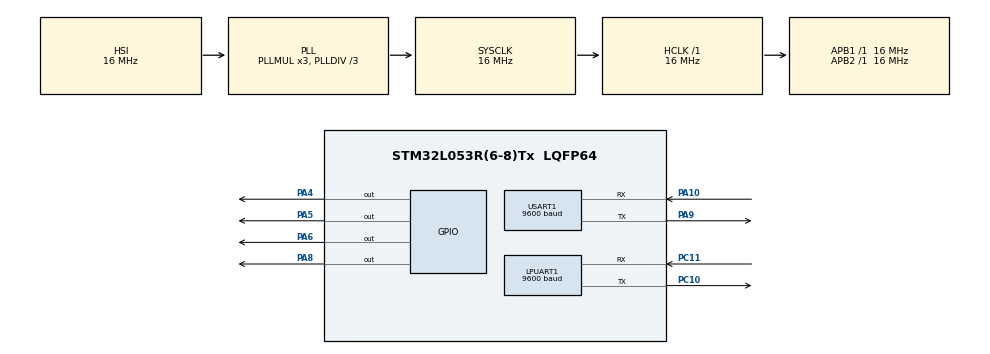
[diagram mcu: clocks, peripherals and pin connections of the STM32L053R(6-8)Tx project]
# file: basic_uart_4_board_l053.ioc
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Dma.LPUART1_RX.2.Direction=DMA_PERIPH_TO_MEMORY
Dma.LPUART1_RX.2.Instance=DMA1_Channel6
Dma.LPUART1_RX.2.MemDataAlignment=DMA_MDATAALIGN_BYTE
Dma.LPUART1_RX.2.MemInc=DMA_MINC_ENABLE
Dma.LPUART1_RX.2.Mode=DMA_NORMAL
Dma.LPUART1_RX.2.PeriphDataAlignment=DMA_PDATAALIGN_BYTE
Dma.LPUART1_RX.2.PeriphInc=DMA_PINC_DISABLE
Dma.LPUART1_RX.2.Priority=DMA_PRIORITY_LOW
Dma.LPUART1_TX.3.Direction=DMA_MEMORY_TO_PERIPH
Dma.LPUART1_TX.3.Instance=DMA1_Channel7
Dma.LPUART1_TX.3.MemDataAlignment=DMA_MDATAALIGN_BYTE
Dma.LPUART1_TX.3.MemInc=DMA_MINC_ENABLE
Dma.LPUART1_TX.3.Mode=DMA_NORMAL
Dma.LPUART1_TX.3.PeriphDataAlignment=DMA_PDATAALIGN_BYTE
Dma.LPUART1_TX.3.PeriphInc=DMA_PINC_DISABLE
Dma.LPUART1_TX.3.Priority=DMA_PRIORITY_LOW
Dma.Request0=USART1_RX
Dma.Request1=USART1_TX
Dma.Request2=LPUART1_RX
Dma.Request3=LPUART1_TX
Dma.USART1_RX.0.Direction=DMA_PERIPH_TO_MEMORY
Dma.USART1_RX.0.Instance=DMA1_Channel3
Dma.USART1_RX.0.MemDataAlignment=DMA_MDATAALIGN_BYTE
Dma.USART1_RX.0.MemInc=DMA_MINC_ENABLE
Dma.USART1_RX.0.Mode=DMA_NORMAL
Dma.USART1_RX.0.PeriphDataAlignment=DMA_PDATAALIGN_BYTE
Dma.USART1_RX.0.PeriphInc=DMA_PINC_DISABLE
Dma.USART1_RX.0.Priority=DMA_PRIORITY_LOW
Dma.USART1_TX.1.Direction=DMA_MEMORY_TO_PERIPH
Dma.USART1_TX.1.Instance=DMA1_Channel2
Dma.USART1_TX.1.MemDataAlignment=DMA_MDATAALIGN_BYTE
Dma.USART1_TX.1.MemInc=DMA_MINC_ENABLE
Dma.USART1_TX.1.Mode=DMA_NORMAL
Dma.USART1_TX.1.PeriphDataAlignment=DMA_PDATAALIGN_BYTE
Dma.USART1_TX.1.PeriphInc=DMA_PINC_DISABLE
Dma.USART1_TX.1.Priority=DMA_PRIORITY_LOW
LPUART1.BaudRate=9600
LPUART1.WordLength=UART_WORDLENGTH_8B
Mcu.Family=STM32L0
Mcu.Name=STM32L053R(6-8)Tx
Mcu.Package=LQFP64
NVIC.DMA1_Channel2_3_IRQn=true\:0\:0\:false\:false\:true\:false\:true\:true
NVIC.DMA1_Channel4_5_6_7_IRQn=true\:0\:0\:false\:false\:true\:false\:true\:true
NVIC.RCC_CRS_IRQn=true\:0\:0\:false\:false\:true\:true\:false\:true
NVIC.RNG_LPUART1_IRQn=true\:0\:0\:false\:false\:true\:true\:true\:true
NVIC.USART1_IRQn=true\:0\:0\:false\:false\:true\:true\:true\:true
PA10.Mode=Asynchronous
PA10.Signal=USART1_RX
PA13.Mode=Serial_Wire
PA13.Signal=SYS_SWDIO
PA14.Mode=Serial_Wire
PA14.Signal=SYS_SWCLK
PA4.Signal=GPIO_Output
PA5.Signal=GPIO_Output
PA6.Signal=GPIO_Output
PA8.PinState=GPIO_PIN_SET
PA8.Signal=GPIO_Output
PA9.Mode=Asynchronous
PA9.Signal=USART1_TX
PC10.Mode=Asynchronous
PC10.Signal=LPUART1_TX
PC11.Mode=Asynchronous
PC11.Signal=LPUART1_RX
PC14-OSC32_IN.Mode=LSE-External-Oscillator
PC14-OSC32_IN.Signal=RCC_OSC32_IN
PC15-OSC32_OUT.Mode=LSE-External-Oscillator
PC15-OSC32_OUT.Signal=RCC_OSC32_OUT
PH0-OSC_IN.Mode=HSE-External-Oscillator
PH0-OSC_IN.Signal=RCC_OSC_IN
PH1-OSC_OUT.Mode=HSE-External-Oscillator
PH1-OSC_OUT.Signal=RCC_OSC_OUT
ProjectManager.HeapSize=0x200
ProjectManager.StackSize=0x400
ProjectManager.TargetToolchain=STM32CubeIDE
RCC.AHBFreq_Value=16000000
RCC.APB1Freq_Value=16000000
RCC.APB1TimFreq_Value=16000000
RCC.APB2Freq_Value=16000000
RCC.APB2TimFreq_Value=16000000
RCC.HCLKFreq_Value=16000000
RCC.HSE_VALUE=8000000
RCC.HSI16_VALUE=16000000
RCC.HSI48_VALUE=48000000
RCC.HSI_VALUE=16000000
RCC.MSI_VALUE=2097000
RCC.PLLDIV=RCC_PLLDIV_3
RCC.SYSCLKFreq_VALUE=16000000
RCC.SYSCLKSource=RCC_SYSCLKSOURCE_PLLCLK
RCC.VCOOutputFreq_Value=48000000
USART1.BaudRate=9600
USART1.VirtualMode-Asynchronous=VM_ASYNC
board=custom

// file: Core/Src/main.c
/* USER CODE BEGIN Header */
/**
  ******************************************************************************
  * @file           : main.c
  * @brief          : Main program body
  ******************************************************************************
  * @attention
  *
  * Copyright (c) 2023 STMicroelectronics.
  * All rights reserved.
  *
  * This software is licensed under terms that can be found in the LICENSE file
  * in the root directory of this software component.
  * If no LICENSE file comes with this software, it is provided AS-IS.
  *
  ******************************************************************************
  */
/* USER CODE END Header */
#include "main.h"

/* USER CODE BEGIN Includes */
#include "stdbool.h"
#include <stdio.h>
#include <stdlib.h>
#include <stdbool.h>
/* USER CODE END Includes */

UART_HandleTypeDef hlpuart1;
UART_HandleTypeDef huart1;

DMA_HandleTypeDef hdma_lpuart1_rx;
DMA_HandleTypeDef hdma_lpuart1_tx;
DMA_HandleTypeDef hdma_usart1_rx;
DMA_HandleTypeDef hdma_usart1_tx;

/* USER CODE BEGIN PV */
#define UART_TOTAL_BYTES 64
#define UART_CHUNK_SIZE  1

char buffer[16];

uint8_t global_rx_buffer[UART_TOTAL_BYTES] = "";
//uint8_t global_tx_buffer[UART_TOTAL_BYTES] = "";
uint8_t global_rxData;

uint8_t counter;

uint16_t RxXferSize;
uint16_t RxXferCount;
uint16_t currentDiffUart;

uint8_t receiver_checksum;
uint16_t distance;

bool flag = false;

uint8_t isr_flag = 0;
uint8_t isr_flag_2 = 0;

// uint8_t uart_status;

/* USER CODE END PV */

void SystemClock_Config(void);
static void MX_GPIO_Init(void);
static void MX_DMA_Init(void);
static void MX_USART1_UART_Init(void);
static void MX_LPUART1_UART_Init(void);

/* USER CODE BEGIN 0 */
void HAL_UART_RxCpltCallback(UART_HandleTypeDef *huart)
{
	if(huart->Instance == USART1)
	{
		global_rx_buffer[counter++] = global_rxData;
		if(counter >= 64)
		{
			counter = 0;
		}

		flag = true;

		HAL_UART_Receive_IT(&huart1, &global_rxData, UART_CHUNK_SIZE);
//		HAL_UART_Receive_IT(&huart1, &global_rxData, UART_TOTAL_BYTES);
//		HAL_UART_Receive_IT(&huart1, global_rx_buffer, UART_TOTAL_BYTES);

	}
}

/* USER CODE END 0 */

int main(void)
{

  /* MCU Configuration--------------------------------------------------------*/

  /* Reset of all peripherals, Initializes the Flash interface and the Systick. */
  HAL_Init();

  /* Configure the system clock */
  SystemClock_Config();

  /* Initialize all configured peripherals */
  MX_GPIO_Init();
  MX_DMA_Init();
  MX_USART1_UART_Init();
  MX_LPUART1_UART_Init();
  /* USER CODE BEGIN 2 */
  HAL_GPIO_WritePin(GPIOA, GPIO_PIN_8, GPIO_PIN_SET);

  /*Abort*/

//    HAL_UART_Receive_IT(&huart1, global_rx_buffer, UART_TOTAL_BYTES);
//    HAL_UART_Receive_IT(&huart1, &global_rxData, UART_TOTAL_BYTES);
    HAL_UART_Receive_IT(&huart1, &global_rxData, UART_CHUNK_SIZE);

  /* USER CODE END 2 */

  /* Infinite loop */
  while (1)
  {

    /* USER CODE BEGIN 3 */
	  if(flag)
	  {
		  if(counter >= 4)
		  {
			  receiver_checksum = (global_rx_buffer[0] + global_rx_buffer[1] + global_rx_buffer[2]) & 0x00FF;
			  if(receiver_checksum == global_rx_buffer[3])
			  {
				  distance = ((uint16_t)(global_rx_buffer[2] << 0) | (uint16_t)(global_rx_buffer[1] << 8));

				  HAL_UART_Transmit(&hlpuart1, (uint8_t*)buffer, sprintf(buffer, "Distance: %d\n", distance), 100);

			  }
			  counter = 0;
		  }
		  //Abort

		  HAL_UART_Abort_IT(&huart1);

//		  HAL_UART_Receive_IT(&huart1, global_rx_buffer, UART_TOTAL_BYTES);
//		  HAL_UART_Receive_IT(&huart1, &global_rxData, UART_TOTAL_BYTES);
		  HAL_UART_Receive_IT(&huart1, &global_rxData, UART_CHUNK_SIZE);

		  // Idle interrupt geldiğinde 64 bayt dönsün istiyoruz.
		  flag = false;
	  }
  }
  /* USER CODE END 3 */
}

void SystemClock_Config(void)
{
  RCC_OscInitTypeDef RCC_OscInitStruct = {0};
  RCC_ClkInitTypeDef RCC_ClkInitStruct = {0};
  RCC_PeriphCLKInitTypeDef PeriphClkInit = {0};

  /** Configure the main internal regulator output voltage
  */
  __HAL_PWR_VOLTAGESCALING_CONFIG(PWR_REGULATOR_VOLTAGE_SCALE1);

  /** Initializes the RCC Oscillators according to the specified parameters
  * in the RCC_OscInitTypeDef structure.
  */
  RCC_OscInitStruct.OscillatorType = RCC_OSCILLATORTYPE_HSI;
  RCC_OscInitStruct.HSIState = RCC_HSI_ON;
  RCC_OscInitStruct.HSICalibrationValue = RCC_HSICALIBRATION_DEFAULT;
  RCC_OscInitStruct.PLL.PLLState = RCC_PLL_ON;
  RCC_OscInitStruct.PLL.PLLSource = RCC_PLLSOURCE_HSI;
  RCC_OscInitStruct.PLL.PLLMUL = RCC_PLLMUL_3;
  RCC_OscInitStruct.PLL.PLLDIV = RCC_PLLDIV_3;
  if (HAL_RCC_OscConfig(&RCC_OscInitStruct) != HAL_OK)
  {
    Error_Handler();
  }

  /** Initializes the CPU, AHB and APB buses clocks
  */
  RCC_ClkInitStruct.ClockType = RCC_CLOCKTYPE_HCLK|RCC_CLOCKTYPE_SYSCLK
                              |RCC_CLOCKTYPE_PCLK1|RCC_CLOCKTYPE_PCLK2;
  RCC_ClkInitStruct.SYSCLKSource = RCC_SYSCLKSOURCE_PLLCLK;
  RCC_ClkInitStruct.AHBCLKDivider = RCC_SYSCLK_DIV1;
  RCC_ClkInitStruct.APB1CLKDivider = RCC_HCLK_DIV1;
  RCC_ClkInitStruct.APB2CLKDivider = RCC_HCLK_DIV1;

  if (HAL_RCC_ClockConfig(&RCC_ClkInitStruct, FLASH_LATENCY_0) != HAL_OK)
  {
    Error_Handler();
  }
  PeriphClkInit.PeriphClockSelection = RCC_PERIPHCLK_USART1|RCC_PERIPHCLK_LPUART1;
  PeriphClkInit.Usart1ClockSelection = RCC_USART1CLKSOURCE_PCLK2;
  PeriphClkInit.Lpuart1ClockSelection = RCC_LPUART1CLKSOURCE_PCLK1;
  if (HAL_RCCEx_PeriphCLKConfig(&PeriphClkInit) != HAL_OK)
  {
    Error_Handler();
  }
}

static void MX_LPUART1_UART_Init(void)
{

  hlpuart1.Instance = LPUART1;
  hlpuart1.Init.BaudRate = 9600;
  hlpuart1.Init.WordLength = UART_WORDLENGTH_8B;
  hlpuart1.Init.StopBits = UART_STOPBITS_1;
  hlpuart1.Init.Parity = UART_PARITY_NONE;
  hlpuart1.Init.Mode = UART_MODE_TX_RX;
  hlpuart1.Init.HwFlowCtl = UART_HWCONTROL_NONE;
  hlpuart1.Init.OneBitSampling = UART_ONE_BIT_SAMPLE_DISABLE;
  hlpuart1.AdvancedInit.AdvFeatureInit = UART_ADVFEATURE_NO_INIT;
  if (HAL_UART_Init(&hlpuart1) != HAL_OK)
  {
    Error_Handler();
  }

}

static void MX_USART1_UART_Init(void)
{

  huart1.Instance = USART1;
  huart1.Init.BaudRate = 9600;
  huart1.Init.WordLength = UART_WORDLENGTH_8B;
  huart1.Init.StopBits = UART_STOPBITS_1;
  huart1.Init.Parity = UART_PARITY_NONE;
  huart1.Init.Mode = UART_MODE_TX_RX;
  huart1.Init.HwFlowCtl = UART_HWCONTROL_NONE;
  huart1.Init.OverSampling = UART_OVERSAMPLING_16;
  huart1.Init.OneBitSampling = UART_ONE_BIT_SAMPLE_DISABLE;
  huart1.AdvancedInit.AdvFeatureInit = UART_ADVFEATURE_NO_INIT;
  if (HAL_UART_Init(&huart1) != HAL_OK)
  {
    Error_Handler();
  }

}

static void MX_DMA_Init(void)
{

  /* DMA controller clock enable */
  __HAL_RCC_DMA1_CLK_ENABLE();

  /* DMA interrupt init */
  /* DMA1_Channel2_3_IRQn interrupt configuration */
  HAL_NVIC_SetPriority(DMA1_Channel2_3_IRQn, 0, 0);
  HAL_NVIC_EnableIRQ(DMA1_Channel2_3_IRQn);
  /* DMA1_Channel4_5_6_7_IRQn interrupt configuration */
  HAL_NVIC_SetPriority(DMA1_Channel4_5_6_7_IRQn, 0, 0);
  HAL_NVIC_EnableIRQ(DMA1_Channel4_5_6_7_IRQn);

}

static void MX_GPIO_Init(void)
{
  GPIO_InitTypeDef GPIO_InitStruct = {0};

  /* GPIO Ports Clock Enable */
  __HAL_RCC_GPIOC_CLK_ENABLE();
  __HAL_RCC_GPIOH_CLK_ENABLE();
  __HAL_RCC_GPIOA_CLK_ENABLE();

  /*Configure GPIO pin Output Level */
  HAL_GPIO_WritePin(GPIOA, GPIO_PIN_4|GPIO_PIN_5|GPIO_PIN_6, GPIO_PIN_RESET);

  /*Configure GPIO pin Output Level */
  HAL_GPIO_WritePin(GPIOA, GPIO_PIN_8, GPIO_PIN_SET);

  /*Configure GPIO pins : PA4 PA5 PA6 PA8 */
  GPIO_InitStruct.Pin = GPIO_PIN_4|GPIO_PIN_5|GPIO_PIN_6|GPIO_PIN_8;
  GPIO_InitStruct.Mode = GPIO_MODE_OUTPUT_PP;
  GPIO_InitStruct.Pull = GPIO_NOPULL;
  GPIO_InitStruct.Speed = GPIO_SPEED_FREQ_LOW;
  HAL_GPIO_Init(GPIOA, &GPIO_InitStruct);

}

void Error_Handler(void)
{
  __disable_irq();
  while (1)
  {
  }
}
